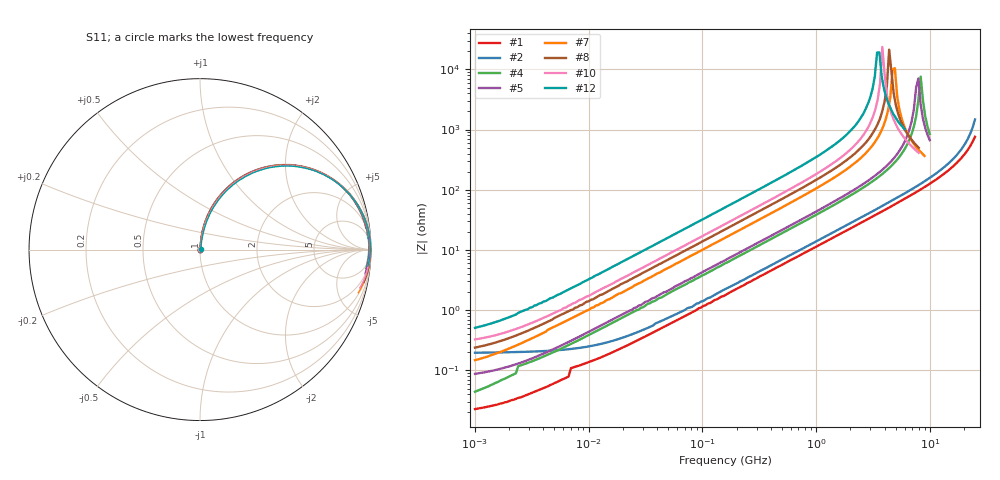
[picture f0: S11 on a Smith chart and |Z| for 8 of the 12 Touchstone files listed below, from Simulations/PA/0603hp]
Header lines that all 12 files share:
# MHz S MA R 50
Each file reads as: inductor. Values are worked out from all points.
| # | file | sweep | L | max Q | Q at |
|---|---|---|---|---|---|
| 1 | 06HP1N8.s2p | 1 MHz to 25 GHz | 1.8 nH | 119 | 7.173 GHz |
| 2 | 06HP2N2.s2p | 1 MHz to 25 GHz | 2.2 nH | 76.3 | 7.869 GHz |
| 3 | 06HP5N6.s2p | 1 MHz to 14 GHz | 5.6 nH | 161 | 3.056 GHz |
| 4 | 06HP6N0.s2p | 1 MHz to 10 GHz | 5.99 nH | 150 | 2.188 GHz |
| 5 | 06HP6N8.s2p | 1 MHz to 10 GHz | 6.8 nH | 139 | 2.291 GHz |
| 6 | 06HP9N1.s2p | 1 MHz to 10 GHz | 9.1 nH | 128 | 2.291 GHz |
| 7 | 06HP16N.s2p | 1 MHz to 9 GHz | 16 nH | 109 | 1.87 GHz |
| 8 | 06HP22N.s2p | 1 MHz to 8 GHz | 22 nH | 93.3 | 1.831 GHz |
| 9 | 06HP24N.s2p | 1 MHz to 8 GHz | 24 nH | 92.4 | 1.155 GHz |
| 10 | 06HP27N.s2p | 1 MHz to 8 GHz | 27 nH | 83.9 | 1.266 GHz |
| 11 | 06HP36N.s2p | 1 MHz to 6 GHz | 36.2 nH | 74 | 1.134 GHz |
| 12 | 06HP51N.s2p | 1 MHz to 6 GHz | 51 nH | 75.5 | 1.134 GHz |
